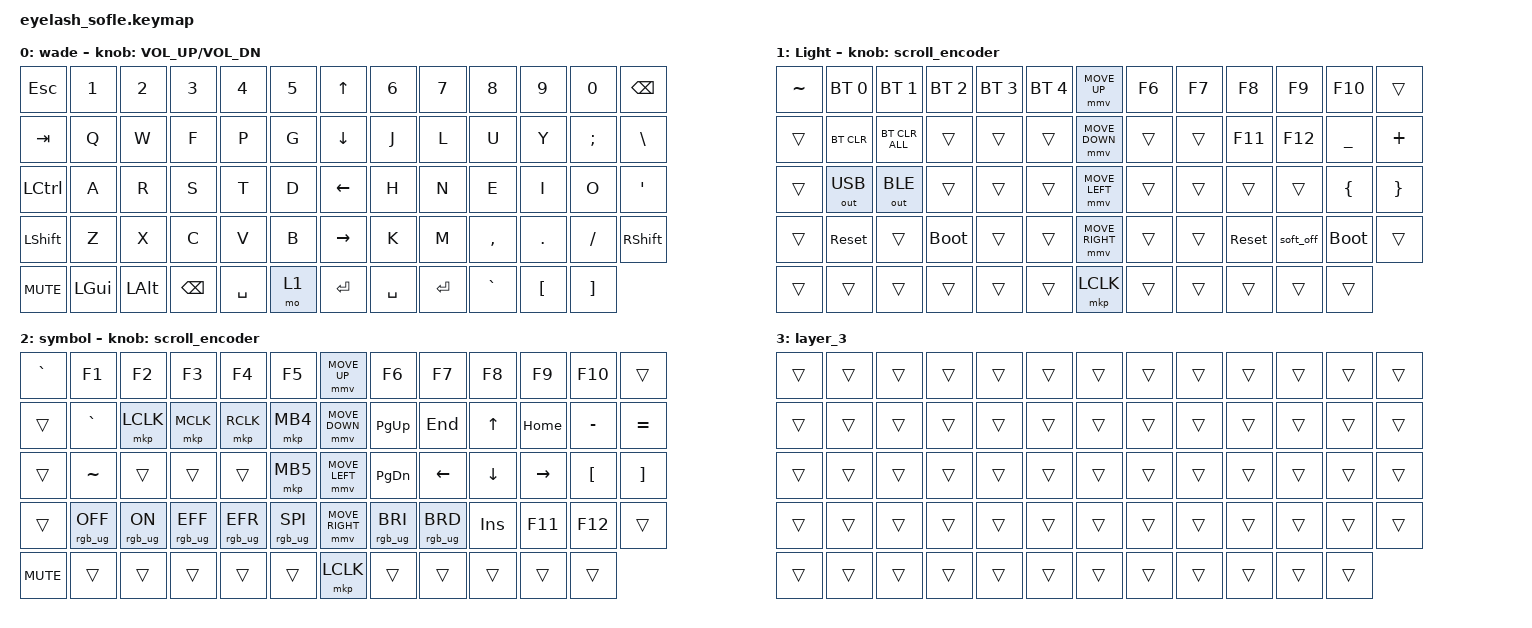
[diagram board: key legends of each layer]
#define ZMK_POINTING_DEFAULT_MOVE_VAL 1200  // 600
#define ZMK_POINTING_DEFAULT_SCRL_VAL 25   // 10

#include <input/processors.dtsi>
#include <zephyr/dt-bindings/input/input-event-codes.h>
#include <behaviors.dtsi>
#include <dt-bindings/zmk/bt.h>
#include <dt-bindings/zmk/keys.h>
#include <dt-bindings/zmk/outputs.h>
#include <dt-bindings/zmk/pointing.h>
#include <dt-bindings/zmk/rgb.h>

&mmv_input_listener { input-processors = <&zip_xy_scaler 2 1>; };

&msc_input_listener { input-processors = <&zip_scroll_scaler 2 1>; };

&msc {
    acceleration-exponent = <1>;      // 0
    time-to-max-speed-ms = <100>;       // 300
    delay-ms = <0>;                   // 0
};

&mmv {
    time-to-max-speed-ms = <500>;
    acceleration-exponent = <1>;
    trigger-period-ms = <16>;
};

&soft_off { hold-time-ms = <2000>; };

/ {
    scroll_encoder: scroll_encoder {
        compatible = "zmk,behavior-sensor-rotate";
        #sensor-binding-cells = <0>;
        bindings = <&msc SCRL_DOWN>, <&msc SCRL_UP>;

        tap-ms = <100>;
    };

    behaviors {
    };

    combos {
        compatible = "zmk,combos";

        softoff {
            bindings = <&soft_off>;
            key-positions = <14 28 40>;
        };
    };

    keymap {
        compatible = "zmk,keymap";

        wade {
            bindings = <
&kp ESC     &kp N1        &kp N2    &kp N3         &kp N4     &kp N5    &kp UP_ARROW     &kp N6     &kp N7     &kp N8     &kp N9            &kp N0             &kp BACKSPACE
&kp TAB     &kp Q         &kp W     &kp F          &kp P      &kp G     &kp DOWN_ARROW   &kp J      &kp L      &kp U      &kp Y             &kp SEMICOLON      &kp BSLH
&kp LCTRL   &kp A         &kp R     &kp S          &kp T      &kp D     &kp LEFT_ARROW   &kp H      &kp N      &kp E      &kp I             &kp O              &kp APOS
&kp LSHFT   &kp Z         &kp X     &kp C          &kp V      &kp B     &kp RIGHT_ARROW  &kp K      &kp M      &kp COMMA  &kp DOT           &kp FSLH           &kp RIGHT_SHIFT
&kp C_MUTE  &kp LEFT_GUI  &kp LALT  &kp BACKSPACE  &kp SPACE  &mo 1     &kp ENTER        &kp SPACE  &kp ENTER  &kp GRAVE  &kp LEFT_BRACKET  &kp RIGHT_BRACKET
            >;

            sensor-bindings = <&inc_dec_kp C_VOLUME_UP C_VOL_DN>;
            display-name = "wade";
        };

        Light {
            bindings = <
&kp TILDE  &bt BT_SEL 0  &bt BT_SEL 1    &bt BT_SEL 2  &bt BT_SEL 3  &bt BT_SEL 4    &mmv MOVE_UP     &kp F6  &kp F7  &kp F8      &kp F9     &kp F10      &trans
&trans     &bt BT_CLR    &bt BT_CLR_ALL  &trans        &trans        &trans          &mmv MOVE_DOWN   &trans  &trans  &kp F11     &kp F12    &kp UNDER    &kp PLUS
&trans     &out OUT_USB  &out OUT_BLE    &trans        &trans        &trans          &mmv MOVE_LEFT   &trans  &trans  &trans      &trans     &kp LBRC     &kp RBRC
&trans     &sys_reset    &trans          &bootloader   &trans        &trans          &mmv MOVE_RIGHT  &trans  &trans  &sys_reset  &soft_off  &bootloader  &trans
&trans     &trans        &trans          &trans        &trans        &trans          &mkp LCLK        &trans  &trans  &trans      &trans     &trans
            >;

            sensor-bindings = <&scroll_encoder>;
        };

        symbol {
            bindings = <
&kp GRAVE   &kp F1           &kp F2          &kp F3           &kp F4           &kp F5             &mmv MOVE_UP     &kp F6           &kp F7           &kp F8      &kp F9     &kp F10           &trans
&trans      &kp GRAVE        &mkp LCLK       &mkp MCLK        &mkp RCLK        &mkp MB4           &mmv MOVE_DOWN   &kp PG_UP        &kp END          &kp UP      &kp HOME   &kp MINUS         &kp EQUAL
&trans      &kp TILDE        &trans          &trans           &trans           &mkp MB5           &mmv MOVE_LEFT   &kp PG_DN        &kp LEFT         &kp DOWN    &kp RIGHT  &kp LEFT_BRACKET  &kp RIGHT_BRACKET
&trans      &rgb_ug RGB_OFF  &rgb_ug RGB_ON  &rgb_ug RGB_EFF  &rgb_ug RGB_EFR  &rgb_ug RGB_SPI    &mmv MOVE_RIGHT  &rgb_ug RGB_BRI  &rgb_ug RGB_BRD  &kp INSERT  &kp F11    &kp F12           &trans
&kp C_MUTE  &trans           &trans          &trans           &trans           &trans             &mkp LCLK        &trans           &trans           &trans      &trans     &trans
            >;

            display-name = "symbol";
            sensor-bindings = <&scroll_encoder>;
        };

        layer_3 {
            bindings = <
&trans  &trans  &trans  &trans  &trans  &trans    &trans  &trans  &trans  &trans  &trans  &trans  &trans
&trans  &trans  &trans  &trans  &trans  &trans    &trans  &trans  &trans  &trans  &trans  &trans  &trans
&trans  &trans  &trans  &trans  &trans  &trans    &trans  &trans  &trans  &trans  &trans  &trans  &trans
&trans  &trans  &trans  &trans  &trans  &trans    &trans  &trans  &trans  &trans  &trans  &trans  &trans
&trans  &trans  &trans  &trans  &trans  &trans    &trans  &trans  &trans  &trans  &trans  &trans
            >;
        };
    };
};
